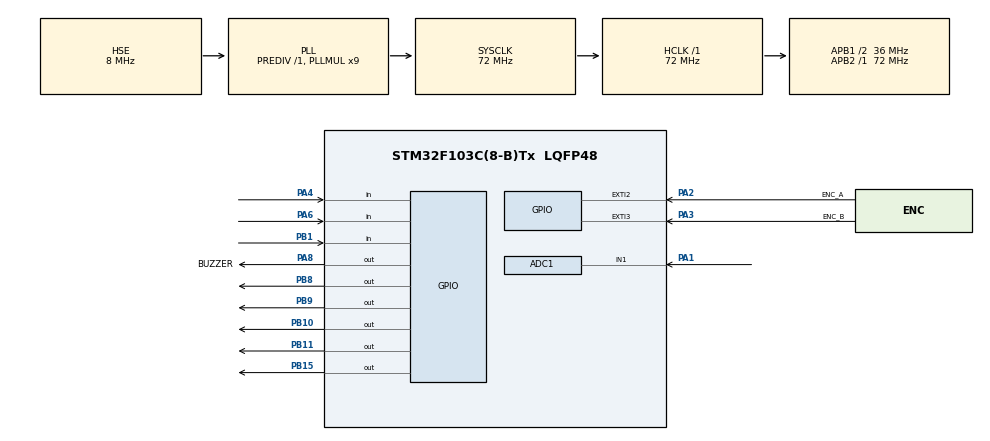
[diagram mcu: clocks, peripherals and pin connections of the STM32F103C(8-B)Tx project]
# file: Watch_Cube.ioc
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ADC1.Channel-0\#ChannelRegularConversion=ADC_CHANNEL_1
ADC1.NbrOfConversionFlag=1
ADC1.Rank-0\#ChannelRegularConversion=1
ADC1.SamplingTime-0\#ChannelRegularConversion=ADC_SAMPLETIME_239CYCLES_5
ADC1.master=1
Mcu.Family=STM32F1
Mcu.Name=STM32F103C(8-B)Tx
Mcu.Package=LQFP48
NVIC.EXTI2_IRQn=true\:2\:0\:true\:false\:true\:true\:true\:true
NVIC.EXTI3_IRQn=true\:2\:0\:true\:false\:true\:true\:true\:true
NVIC.PriorityGroup=NVIC_PRIORITYGROUP_4
PA1.Signal=ADCx_IN1
PA13.Mode=Serial_Wire
PA13.Signal=SYS_JTMS-SWDIO
PA14.Mode=Serial_Wire
PA14.Signal=SYS_JTCK-SWCLK
PA2.GPIO_Label=ENC_A
PA2.GPIO_ModeDefaultEXTI=GPIO_MODE_IT_RISING_FALLING
PA2.GPIO_PuPd=GPIO_PULLUP
PA2.Signal=GPXTI2
PA3.GPIO_Label=ENC_B
PA3.GPIO_ModeDefaultEXTI=GPIO_MODE_IT_RISING_FALLING
PA3.GPIO_PuPd=GPIO_PULLUP
PA3.Signal=GPXTI3
PA4.GPIO_PuPd=GPIO_PULLUP
PA4.Signal=GPIO_Input
PA6.GPIO_PuPd=GPIO_PULLUP
PA6.Signal=GPIO_Input
PA8.GPIO_Label=BUZZER
PA8.GPIO_ModeDefaultOutputPP=GPIO_MODE_OUTPUT_PP
PA8.PinState=GPIO_PIN_SET
PA8.Signal=GPIO_Output
PB1.GPIO_PuPd=GPIO_PULLUP
PB1.Signal=GPIO_Input
PB10.GPIO_ModeDefaultOutputPP=GPIO_MODE_OUTPUT_OD
PB10.GPIO_PuPd=GPIO_NOPULL
PB10.PinState=GPIO_PIN_SET
PB10.Signal=GPIO_Output
PB11.GPIO_ModeDefaultOutputPP=GPIO_MODE_OUTPUT_OD
PB11.GPIO_PuPd=GPIO_NOPULL
PB11.PinState=GPIO_PIN_SET
PB11.Signal=GPIO_Output
PB15.GPIO_ModeDefaultOutputPP=GPIO_MODE_OUTPUT_PP
PB15.PinState=GPIO_PIN_SET
PB15.Signal=GPIO_Output
PB8.GPIO_ModeDefaultOutputPP=GPIO_MODE_OUTPUT_OD
PB8.GPIO_PuPd=GPIO_NOPULL
PB8.PinState=GPIO_PIN_SET
PB8.Signal=GPIO_Output
PB9.GPIO_ModeDefaultOutputPP=GPIO_MODE_OUTPUT_OD
PB9.GPIO_PuPd=GPIO_NOPULL
PB9.PinState=GPIO_PIN_SET
PB9.Signal=GPIO_Output
PC14-OSC32_IN.Mode=LSE-External-Oscillator
PC14-OSC32_IN.Signal=RCC_OSC32_IN
PC15-OSC32_OUT.Mode=LSE-External-Oscillator
PC15-OSC32_OUT.Signal=RCC_OSC32_OUT
PD0-OSC_IN.Mode=HSE-External-Oscillator
PD0-OSC_IN.Signal=RCC_OSC_IN
PD1-OSC_OUT.Mode=HSE-External-Oscillator
PD1-OSC_OUT.Signal=RCC_OSC_OUT
ProjectManager.HeapSize=0x200
ProjectManager.StackSize=0x400
ProjectManager.TargetToolchain=STM32CubeIDE
RCC.ADCPresc=RCC_ADCPCLK2_DIV6
RCC.AHBFreq_Value=72000000
RCC.APB1CLKDivider=RCC_HCLK_DIV2
RCC.APB1Freq_Value=36000000
RCC.APB1TimFreq_Value=72000000
RCC.APB2Freq_Value=72000000
RCC.APB2TimFreq_Value=72000000
RCC.HCLKFreq_Value=72000000
RCC.PLLMUL=RCC_PLL_MUL9
RCC.PLLSourceVirtual=RCC_PLLSOURCE_HSE
RCC.RTCClockSelection=RCC_RTCCLKSOURCE_LSE
RCC.SYSCLKFreq_VALUE=72000000
RCC.SYSCLKSource=RCC_SYSCLKSOURCE_PLLCLK
RCC.USBFreq_Value=72000000
SH.ADCx_IN1.0=ADC1_IN1,IN1
VP_RTC_VS_RTC_Activate.Mode=RTC_Enabled
board=custom

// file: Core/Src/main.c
/* USER CODE BEGIN Header */
/* 新手阅读入口：先找 main()，按“初始化 → while(1)反复运行 → 处理输入 → 刷新页面”阅读。
 * 本文件负责应用流程，具体硬件操作交给各驱动；页面状态机就是用 page 记录当前页面。
 * HAL 是硬件抽象库；GPIO 是通用输入输出引脚；RTC 是实时时钟；ADC 是模数转换器。
 * HAL_GetTick() 返回开机后的毫秒计数，不能当作日期时间使用。
 * uint8_t/uint16_t/uint32_t 分别是8/16/32位无符号整数；int16_t 可表示负数；float 表示小数。
 * 文件级 static 变量只在本文件可见；函数里的 static 变量会保留上一次调用的值。
 * 带 * 的参数是指针，保存变量地址；&变量用于取地址，结构体指针用 -> 访问成员。
 * CubeMX 自动生成区域可能被重新生成覆盖，自定义内容应放在 USER CODE BEGIN/END 标记之间。 */
/**
  ******************************************************************************
  * @file           : main.c
  * @brief          : Main program body
  ******************************************************************************
  * @attention
  *
  * Copyright (c) 2026 STMicroelectronics.
  * All rights reserved.
  *
  * This software is licensed under terms that can be found in the LICENSE file
  * in the root directory of this software component.
  * If no LICENSE file comes with this software, it is provided AS-IS.
  *
  ******************************************************************************
  */
/* USER CODE END Header */
#include "main.h"

/* USER CODE BEGIN Includes */
#include "led.h"
#include "buzzer.h"
#include "light_sensor.h"
#include "oled.h"
#include "key.h"
#include "encoder.h"
#include "myrtc.h"
#include "menu.h"
#include "dino.h"
#include "emoji.h"
#include "mpu6050.h"
#include <math.h>
/* USER CODE END Includes */

/* USER CODE BEGIN PD */
/* 这些编号代表应用页面；和OLED驱动的8像素page横带不是同一概念。 */
#define PAGE_CLOCK      0
#define PAGE_MENU       1
#define PAGE_SET_TIME   2
#define PAGE_STOPWATCH  3
#define PAGE_LIGHT      4
#define PAGE_MOTION 5
#define PAGE_ATTITUDE 6
#define PAGE_LEVEL 7
#define PAGE_DINO 8
#define PAGE_EMOJI 9
#define PAGE_COUNTDOWN 10
#define PAGE_BRIGHTNESS 11
/* USER CODE END PD */

ADC_HandleTypeDef hadc1;

RTC_HandleTypeDef hrtc;

/* USER CODE BEGIN PV */
/* 下面是需要跨多轮主循环保存的应用状态：标志通常用0/1，时间统一用毫秒。
 * 255是“不存在的旧状态”，用于强制首次刷新；亮度下标0到3对应屏幕显示的1到4级。 */
/* 0为数字主页，1为带模拟指针的主页。 */
static uint8_t clockAnalog = 0;
/* 0表示无待传指针图；1到5表示下一次需要传送的OLED横带。 */
static uint8_t clockRenderPage = 0;
/* 秒表是否继续累计：0暂停，1运行。 */
static uint8_t stopwatchRunning = 0;
/* 已经累计的毫秒数，暂停时保留。 */
static uint32_t stopwatchElapsed = 0;
/* 上次秒表更新时的开机毫秒计数，用于求时间差。 */
static uint32_t stopwatchTick = 0;
/* 设置的倒计时时长，60000毫秒就是1分钟；完成后重来时使用。 */
static uint32_t countdownDuration = 60000U;
/* 剩余毫秒数；与设置时长分开，才能暂停后继续。 */
static uint32_t countdownRemaining = 60000U;
/* 上次倒计时更新或重新开始时的毫秒计数。 */
static uint32_t countdownTick = 0;
/* 是否正在扣减剩余时间。 */
static uint8_t countdownRunning = 0;
/* 是否已经倒数到零，用于区分“暂停”和“完成”。 */
static uint8_t countdownFinished = 0;
/* 缓存上一次提示样式；255让第一次进入页面一定重绘。 */
static uint8_t countdownDrawStyle = 255;
/* 按下消音后，等待并消耗对应松手事件，避免又触发一次页面操作。 */
static uint8_t silenceKeyHeld = 0;
/* 默认自动亮度；0切换为手动。 */
static uint8_t brightnessAuto = 1;
/* 自动亮度下标0到3；下标3是第4档，不是第3档。 */
static uint8_t brightnessAutoLevel = 3;
/* 手动档位单独保存，避免被自动计算覆盖。 */
static uint8_t brightnessManualLevel = 3;
/* 缓存采样是否有效，只有状态变化才清除旧的采样提示区域。 */
static uint8_t brightnessDrawValid = 255;
/* USER CODE END PV */

void SystemClock_Config(void);
static void MX_GPIO_Init(void);
static void MX_RTC_Init(void);
static void MX_ADC1_Init(void);

/* USER CODE BEGIN 0 */
/* 显示带正负号的原始运动计数；先扩为32位再取绝对值，避免最小16位负数溢出。 */
static void Motion_ShowValue(uint8_t row, uint8_t x, int16_t value)
{
    int32_t number = value;

    OLED_ShowString(row, x, number < 0 ? "-" : "+");

    uint32_t magnitude =
        number < 0 ? (uint32_t)(-number) : (uint32_t)number;

    OLED_ShowNum(row, x + 6U, magnitude, 5);
}

/* 更新六轴数值，固定标题留给Open函数绘制。 */
static void Motion_Draw(const MPU6050_Data *data)
{
    Motion_ShowValue(2, 18, data->ax);
    Motion_ShowValue(3, 18, data->ay);
    Motion_ShowValue(4, 18, data->az);

    Motion_ShowValue(2, 84, data->gx);
    Motion_ShowValue(3, 84, data->gy);
    Motion_ShowValue(4, 84, data->gz);
}

/* 进入运动页面时绘制轴名称或未连接提示。 */
static void Motion_Open(uint8_t ready)
{
    OLED_Fill(0x00);
    OLED_ShowChinese(0, 0, "加速度");
    OLED_ShowChinese(0, 66, "角速度");
    OLED_ShowChinese(6, 0, "重试");
    OLED_ShowString(6, 36, "1");
    OLED_ShowChinese(6, 72, "返回");
    OLED_ShowString(6, 110, "3");
    if (ready)
    {
        for (uint8_t row = 2; row <= 4; row++)
        {
            const char *axis = row == 2 ? "X:" : (row == 3 ? "Y:" : "Z:");
            OLED_ShowString(row, 0, axis);
            OLED_ShowString(row, 66, axis);
        }
    }
    else
        OLED_ShowChinese(2, 0, "未连接");
}

/* 带上下限的循环加减，例如23小时再加1变为0小时。 */
static uint16_t Clock_Wrap(uint16_t value, int8_t direction,
                           uint16_t minimum, uint16_t maximum)
{
    if (direction > 0)
    {
        return (value >= maximum) ? minimum : value + 1U;
    }

    return (value <= minimum) ? maximum : value - 1U;
}

/* 修改编辑副本的年/月/日/时/分/秒；改年月后还会修正该月不存在的日期。 */
static void Clock_Adjust(MyRTC_DateTime *time,
                         uint8_t field, int8_t direction)
{
    switch (field)
    {
        case 0:
            time->year = Clock_Wrap(time->year, direction, 2000, 2099);
            break;

        case 1:
            time->month = Clock_Wrap(time->month, direction, 1, 12);
            break;

        case 2:
            time->day = Clock_Wrap(
                time->day, direction, 1,
                MyRTC_MonthDays(time->year, time->month));
            break;

        case 3:
            time->hour = Clock_Wrap(time->hour, direction, 0, 23);
            break;

        case 4:
            time->minute = Clock_Wrap(time->minute, direction, 0, 59);
            break;

        case 5:
            time->second = Clock_Wrap(time->second, direction, 0, 59);
            break;
    }

    /* 改变年份、月份后，日期不能超过该月实际天数。 */
    uint8_t maximumDay = MyRTC_MonthDays(time->year, time->month);

    if (time->day > maximumDay)
    {
        time->day = maximumDay;
    }
}

/* 显示传入时间；既可显示实时值，也可显示尚未保存的编辑值。 */
static void Clock_Draw(const MyRTC_DateTime *time)
{
    OLED_ShowNum(0, 0, time->year, 4);
    OLED_ShowNum(0, 30, time->month, 2);
    OLED_ShowNum(0, 48, time->day, 2);

    OLED_ShowNum(2, 0, time->hour, 2);
    OLED_ShowNum(2, 18, time->minute, 2);
    OLED_ShowNum(2, 36, time->second, 2);

    OLED_ShowString(0, 24, "-");
    OLED_ShowString(0, 42, "-");
    OLED_ShowString(2, 12, ":");
    OLED_ShowString(2, 30, ":");
}

/* 将小数四舍五入到整数，正负数分别加减0.5再截断。 */
static int16_t Clock_Round(float value)
{
    return (int16_t)(value >= 0.0f ? value + 0.5f : value - 0.5f);
}

/* turns表示转过几圈，乘2π变弧度；sin/cos求指针端点，屏幕y向下所以余弦前取负号。 */
static void Clock_Hand(float turns, uint8_t length)
{
    float angle = turns * 6.28318531f;
    OLED_DrawLine(100, 29,
                  100 + Clock_Round(sinf(angle) * length),
                  29 - Clock_Round(cosf(angle) * length));
}

/* 按当前模式更新时钟；模拟指针先画入草稿，交给后面主循环逐条横带传送。 */
static void Clock_HomeDraw(const MyRTC_DateTime *time)
{
    if (clockAnalog)
    {
        OLED_FrameClear();
        OLED_DrawCircle(100, 29, 18, 0);
        for (uint8_t i = 0; i < 12; i++)
        {
            float angle = i * 6.28318531f / 12.0f;
            uint8_t inner = (i % 3U == 0U) ? 13U : 15U;
            OLED_DrawLine(100 + Clock_Round(sinf(angle) * inner),
                          29 - Clock_Round(cosf(angle) * inner),
                          100 + Clock_Round(sinf(angle) * 17),
                          29 - Clock_Round(cosf(angle) * 17));
        }
        Clock_Hand((time->hour % 12U + time->minute / 60.0f +
                    time->second / 3600.0f) / 12.0f, 8);
        Clock_Hand((time->minute + time->second / 60.0f) / 60.0f, 12);
        Clock_Hand(time->second / 60.0f, 16);
        OLED_DrawCircle(100, 29, 1, 1);
        clockRenderPage = 1;
    }
    Clock_Draw(time);
}

/* 绘制时钟主页固定文字和电池占位图；BAT --表示未接电量测量电路。 */
static void Clock_Open(void)
{
    OLED_Fill(0x00);
    clockRenderPage = 0;
    OLED_ShowChinese(4, 0, clockAnalog ? "图形时钟" : "数字时钟");
    OLED_ShowChinese(6, 0, "切换");
    OLED_ShowString(6, 34, "1 2");
    OLED_ShowChinese(6, 72, "菜单");
    OLED_ShowString(6, 110, "3");

    /* No battery circuit is connected; leave the charge level unknown. */
    OLED_FrameClear();
    for (int16_t x = 108; x <= 121; x++)
    {
        OLED_DrawPoint(x, 1);
        OLED_DrawPoint(x, 6);
    }
    for (int16_t y = 1; y <= 6; y++)
    {
        OLED_DrawPoint(108, y);
        OLED_DrawPoint(121, y);
    }
    for (int16_t x = 122; x <= 124; x++)
    {
        OLED_DrawPoint(x, 3);
        OLED_DrawPoint(x, 4);
    }
    OLED_UpdateFrame(0, 1);
    OLED_ShowString(0, 70, "BAT --");
}

/* 显示当前编辑字段与保存/取消提示；field为0到5。 */
static void Clock_ShowField(uint8_t field, uint8_t saveFailed)
{
    static const char *names[6] = {"年份", "月份", "日期", "小时", "分钟", "秒"};
    for (uint8_t row = 4; row <= 7; row++)
        OLED_ShowString(row, 0, "                     ");
    OLED_ShowChinese(4, 0, names[field]);
    if (saveFailed)
        OLED_ShowChinese(4, 48, "保存失败");
    else
    {
        OLED_ShowChinese(4, 40, "长按");
        OLED_ShowString(4, 74, "3");
        OLED_ShowChinese(4, 84, "取消");
    }
    OLED_ShowString(6, 0, "1+ 2-");
    OLED_ShowChinese(6, 34, field == 5U ? "保存" : "下一项");
    OLED_ShowString(6, 88, "3");
}

/* 按毫秒差累加秒表，不依赖当前页面；100小时取余回零，无符号减法可处理计数回绕。 */
static void Stopwatch_Update(void)
{
    uint32_t now = HAL_GetTick();

    if (stopwatchRunning)
    {
        stopwatchElapsed =
            (stopwatchElapsed + (uint32_t)(now - stopwatchTick))
            % 360000000U;
    }

    stopwatchTick = now;
}

/* 把累计毫秒拆成小时、分钟、秒和百分之一秒，只负责显示。 */
static void Stopwatch_Draw(void)
{
    /* 整数除法舍掉小数；/1000把毫秒变为完整秒，%60再取当前分钟内的秒。 */
    uint32_t totalSeconds = stopwatchElapsed / 1000U;

    uint8_t hours = totalSeconds / 3600U;
    uint8_t minutes = (totalSeconds / 60U) % 60U;
    uint8_t seconds = totalSeconds % 60U;
    uint8_t hundredths = (stopwatchElapsed / 10U) % 100U;

    OLED_ShowNum(2, 0, hours, 2);
    OLED_ShowString(2, 12, ":");

    OLED_ShowNum(2, 18, minutes, 2);
    OLED_ShowString(2, 30, ":");

    OLED_ShowNum(2, 36, seconds, 2);
    OLED_ShowString(2, 48, ":");

    OLED_ShowNum(2, 54, hundredths, 2);

    OLED_ShowChinese(0, 80, stopwatchRunning ? "运行" : "停止");
}

/* 绘制秒表标题与操作提示，不重置已经累计的时间。 */
static void Stopwatch_Open(void)
{
    OLED_Fill(0x00);

    OLED_ShowChinese(0, 0, "秒表");
    OLED_ShowChinese(4, 0, "开始");
    OLED_ShowString(4, 34, "1");
    OLED_ShowChinese(4, 72, "停止");
    OLED_ShowString(4, 110, "2");
    OLED_ShowString(6, 0, "3");
    OLED_ShowChinese(6, 8, "清零");
    OLED_ShowChinese(6, 48, "长按");
    OLED_ShowString(6, 82, "3");
    OLED_ShowChinese(6, 90, "返回");
}

/* 扣除实际经过的毫秒，归零时启动蜂鸣；离开倒计时页面后仍需调用。 */
static void Countdown_Update(void)
{
    if (!countdownRunning)
        return;
    uint32_t now = HAL_GetTick();
    /* 例如上次1000、本次1025，则经过25毫秒；不能假设每轮循环恰好1毫秒。 */
    uint32_t elapsed = now - countdownTick;
    countdownTick = now;
    if (elapsed >= countdownRemaining)
    {
        countdownRemaining = 0;
        countdownRunning = 0;
        countdownFinished = 1;
        Buzzer_Alert();
    }
    else
        countdownRemaining -= elapsed;
}

/* 每次加减10秒，范围10秒到60分钟；同时记录作为下一次重来的设置时长。 */
static void Countdown_Adjust(int8_t direction)
{
    /* 加999再整除1000实现向上取整：剩余1到1000毫秒都按1秒处理。 */
    uint32_t seconds = (countdownRemaining + 999U) / 1000U;
    if (direction > 0)
        seconds = seconds >= 3590U ? 3600U : seconds + 10U;
    else
        seconds = seconds <= 20U ? 10U : seconds - 10U;
    countdownDuration = countdownRemaining = seconds * 1000U;
    countdownFinished = 0;
}

/* 剩余毫秒向上取整显示秒，避免还有不足1秒时提前显示00；按运行状态改变提示。 */
static void Countdown_Draw(void)
{
    /* 加999再整除1000实现向上取整：剩余1到1000毫秒都按1秒处理。 */
    uint32_t seconds = (countdownRemaining + 999U) / 1000U;
    uint8_t sounding = Buzzer_IsAlerting();
    OLED_ShowChinese(0, 80, sounding ? "响铃" :
                     (countdownRunning ? "运行" :
                      (countdownFinished ? "完成" :
                       (countdownRemaining == countdownDuration ? "设置" : "暂停"))));
    OLED_ShowNum(2, 40, seconds / 3600U, 2);
    OLED_ShowString(2, 52, ":");
    OLED_ShowNum(2, 58, (seconds / 60U) % 60U, 2);
    OLED_ShowString(2, 70, ":");
    OLED_ShowNum(2, 76, seconds % 60U, 2);
    OLED_ShowChinese(6, 0, sounding ? "消音" :
                     (countdownRunning ? "暂停" :
                      (countdownFinished ? "重来" : "开始")));
    uint8_t style = sounding ? 2U : (countdownRunning ? 1U : 0U);
    if (style != countdownDrawStyle)
    {
        OLED_ShowString(4, 0, "                     ");
        OLED_ShowString(5, 0, "                     ");
        if (sounding)
            OLED_ShowChinese(4, 24, "任意键消音");
        else if (countdownRunning)
            OLED_ShowChinese(4, 40, "计时中");
        else
        {
            OLED_ShowChinese(4, 0, "加");
            OLED_ShowString(4, 20, "1");
            OLED_ShowChinese(4, 48, "减");
            OLED_ShowString(4, 68, "2");
            OLED_ShowNum(4, 88, 10, 2);
            OLED_ShowChinese(4, 104, "秒");
        }
        countdownDrawStyle = style;
    }
}

/* 进入倒计时页只重绘界面，不清空后台计时状态。 */
static void Countdown_Open(void)
{
    OLED_Fill(0x00);
    OLED_ShowChinese(0, 0, "倒计时");
    OLED_ShowString(6, 36, "3");
    OLED_ShowChinese(6, 48, "长按");
    OLED_ShowString(6, 82, "3");
    OLED_ShowChinese(6, 90, "返回");
    countdownDrawStyle = 255;
    Countdown_Draw();
}

/* 按应用保存的灯状态更新文字。 */
static void Light_Draw(uint8_t on)
{
    OLED_ShowChinese(2, 0, on ? "已开启" : "已关闭");
}

/* 显示灯光控制界面，进入页面不会改变灯原来的状态。 */
static void Light_Open(uint8_t on)
{
    OLED_Fill(0x00);

    OLED_ShowChinese(0, 0, "灯光");
    OLED_ShowChinese(4, 0, "开启");
    OLED_ShowString(4, 34, "1");
    OLED_ShowChinese(4, 72, "关闭");
    OLED_ShowString(4, 110, "2");
    OLED_ShowChinese(6, 0, "返回");
    OLED_ShowString(6, 36, "3");

    Light_Draw(on);
}

/* 把光照百分比映射到四档亮度；升档和降档阈值相差8个百分点以减少跳档。 */
static void Brightness_Update(void)
{
    /* 四档屏幕对比度参数，不是百分比；通过屏幕控制命令改变发光亮度。 */
    static const uint8_t contrast[4] = {0x20, 0x60, 0xA0, 0xCF};
    /* 相对光照的三个分档边界；上下再加减4个百分点，形成回差。 */
    static const uint8_t edges[3] = {25, 50, 75};
    if (brightnessAuto)
    {
        if (!LightSensor_IsValid())
            return;
        uint8_t percent = LightSensor_GetPercent();
        /* Different up/down thresholds prevent flickering near a boundary. */
        while (brightnessAutoLevel < 3U && percent >= edges[brightnessAutoLevel] + 4U)
            brightnessAutoLevel++;
        while (brightnessAutoLevel > 0U && percent <= edges[brightnessAutoLevel - 1U] - 4U)
            brightnessAutoLevel--;
    }
    OLED_SetContrast(contrast[brightnessAuto ? brightnessAutoLevel : brightnessManualLevel]);
}

/* 显示相对光照、采样值、亮度级和模式；无有效采样时用占位符提示。 */
static void Brightness_Draw(void)
{
    uint8_t valid = LightSensor_IsValid();
    OLED_ShowChinese(2, 0, "光照");
    if (valid)
        OLED_ShowNum(2, 40, LightSensor_GetPercent(), 3);
    else
        OLED_ShowString(2, 40, "---");
    OLED_ShowString(2, 60, "%");
    OLED_ShowChinese(2, 88, "级");
    OLED_ShowNum(2, 110, (brightnessAuto ? brightnessAutoLevel : brightnessManualLevel) + 1U, 1);
    if (valid != brightnessDrawValid)
    {
        OLED_ShowString(4, 0, "                     ");
        OLED_ShowString(5, 0, "                     ");
        brightnessDrawValid = valid;
    }
    if (valid)
    {
        OLED_ShowChinese(4, 0, "采样");
        OLED_ShowNum(4, 40, LightSensor_GetValue(), 4);
    }
    else
        OLED_ShowChinese(4, 0, "采样失败");
    OLED_ShowChinese(6, 0, brightnessAuto ? "自动" : "手动");
    OLED_ShowChinese(6, 72, !brightnessAuto ? "调亮" : (valid ? "反向" : "重试"));
}

/* 绘制亮度页面固定内容，再显示当前读数。 */
static void Brightness_Open(void)
{
    OLED_Fill(0x00);
    OLED_ShowChinese(0, 0, "亮度");
    OLED_ShowChinese(0, 72, "返回");
    OLED_ShowString(0, 110, "3");
    OLED_ShowString(6, 36, "1");
    OLED_ShowString(6, 110, "2");
    brightnessDrawValid = 255;
    Brightness_Draw();
}

/* 姿态角取整并显示正负号，单位为度。 */
static void Attitude_ShowValue(uint8_t row, float value)
{
    int32_t rounded =
        (int32_t)(value >= 0.0f ? value + 0.5f : value - 0.5f);
    OLED_ShowString(row, 42, rounded < 0 ? "-" : "+");
    uint32_t magnitude =
        rounded < 0 ? (uint32_t)(-rounded) : (uint32_t)rounded;
    OLED_ShowNum(row, 48, magnitude, 3);
}

/* 更新横滚、俯仰、偏航三个角度，偏航只是相对方向。 */
static void Attitude_Draw(const MPU6050_Angles *angles)
{
    Attitude_ShowValue(0, angles->roll);
    Attitude_ShowValue(2, angles->pitch);
    Attitude_ShowValue(4, angles->yaw);
}

/* 绘制姿态页，ready决定显示角度标签还是未就绪提示。 */
static void Attitude_Open(uint8_t ready)
{
    OLED_Fill(0x00);
    OLED_ShowChinese(6, 0, ready ? "校准" : "重试");
    OLED_ShowString(6, 36, "1");
    OLED_ShowChinese(6, 72, "返回");
    OLED_ShowString(6, 110, "3");
    if (ready)
    {
        OLED_ShowChinese(0, 0, "横滚");
        OLED_ShowChinese(2, 0, "俯仰");
        OLED_ShowChinese(4, 0, "偏航");
        OLED_ShowChinese(0, 80, "姿态");
        OLED_ShowChinese(2, 80, "度");
    }
    else
    {
        OLED_ShowChinese(0, 0, "姿态");
        OLED_ShowChinese(2, 0, "未就绪");
    }
}

/* 先提示保持静止，再初始化并校准；此过程有等待，完成后才回到主循环。 */
static uint8_t Attitude_Calibrate(void)
{
    OLED_Fill(0x00);
    OLED_ShowChinese(0, 0, "保持静止");
    OLED_ShowChinese(2, 0, "正在校准");
    uint8_t connected = MPU6050_Init();
    uint8_t ready = connected;

    if (ready)
    {
        ready = MPU6050_Calibrate();
    }

    Attitude_Open(ready);
    if (!ready)
        OLED_ShowChinese(2, 0, connected ? "校准失败" : "未连接");
    return ready;
}

/* 把角度差折回-180到180度，避免跨越正负180度时气泡突然跳到另一边。 */
static float Level_Difference(float angle, float reference)
{
    float difference = angle - reference;
    if (difference > 180.0f) difference -= 360.0f;
    if (difference < -180.0f) difference += 360.0f;
    return difference;
}

/* 把相对零点的倾角映射为气泡偏移，并把偏移半径限制到11像素。 */
static void Level_Draw(const MPU6050_Angles *angles,
                        float zeroRoll, float zeroPitch)
{
    float dx = -0.6f * Level_Difference(angles->roll, zeroRoll);
    float dy = 0.6f * Level_Difference(angles->pitch, zeroPitch);
    float distance = sqrtf(dx * dx + dy * dy);

    if (distance > 11.0f)
    {
        dx *= 11.0f / distance;
        dy *= 11.0f / distance;
    }

    int16_t bubbleX = 64 + (int16_t)(dx >= 0.0f ? dx + 0.5f : dx - 0.5f);
    int16_t bubbleY = 32 + (int16_t)(dy >= 0.0f ? dy + 0.5f : dy - 0.5f);

    OLED_FrameClear();
    OLED_DrawCircle(64, 32, 14, 0);

    for (int16_t i = -2; i <= 2; i++)
    {
        OLED_DrawPoint(64 + i, 32);
        OLED_DrawPoint(64, 32 + i);
    }

    OLED_DrawCircle(bubbleX, bubbleY, 3, 1);
}

/* 清除旧气泡区域并提示读取失败，避免残留画面被误当成有效值。 */
static void Level_ReadError(void)
{
    OLED_FrameClear();
    OLED_UpdateFrameArea(2, 4, 49, 31);
    OLED_ShowChinese(2, 0, "读取失败");
    OLED_ShowChinese(6, 0, "重试");
    OLED_ShowString(6, 36, "1");
}

/* 进入水平仪页先初始化和校准，成功返回1；失败返回0并提示原因。 */
static uint8_t Level_Open(void)
{
    OLED_Fill(0x00);
    OLED_ShowChinese(0, 0, "保持静止");
    OLED_ShowChinese(2, 0, "正在校准");
    uint8_t connected = MPU6050_Init();
    uint8_t ready = connected;
    if (ready)
        ready = MPU6050_Calibrate();
    OLED_Fill(0x00);
    OLED_ShowChinese(0, 0, "水平仪");
    OLED_ShowChinese(6, 72, "返回");
    OLED_ShowString(6, 110, "3");
    OLED_ShowChinese(6, 0, ready ? "归零" : "重试");
    OLED_ShowString(6, 36, "1");
    if (!ready)
        OLED_ShowChinese(2, 0, connected ? "校准失败" : "未连接");
    return ready;
}

/* USER CODE END 0 */

int main(void)
{

  /* MCU Configuration--------------------------------------------------------*/

  /* Reset of all peripherals, Initializes the Flash interface and the Systick. */
  HAL_Init();

  /* Configure the system clock */
  SystemClock_Config();

  /* USER CODE BEGIN SysInit */
  /* 系统时钟已配置：HSE（高速外部晶振）8MHz，经PLL（锁相环倍频器）乘9得到72MHz。
   * AHB系统总线72MHz，APB1外设总线36MHz，APB2外设总线72MHz；ADC时钟再除6为12MHz。
   * RCC是复位与时钟控制模块；上述频率由SystemClock_Config()设置。 */

  /* USER CODE END SysInit */

  /* Initialize all configured peripherals */
  MX_GPIO_Init();
  MX_RTC_Init();
  MX_ADC1_Init();
  /* USER CODE BEGIN 2 */
  /* 硬件基础配置完成后，再初始化自定义驱动；先设蜂鸣器关闭，再准备时钟、显示和光照。 */
  Encoder_Init();
  Buzzer_Init();
  MyRTC_Init();
  OLED_Init();
  LightSensor_Init(&hadc1);
  LightSensor_Update();
  Brightness_Update();
  LED_Off();

  /* dateTime保存实时读数，editTime保存设置页面的编辑副本；确认保存前不会修改RTC。 */
  MyRTC_DateTime dateTime;
  MyRTC_DateTime editTime;

  /* page决定当前页面；screenOff只表示显示关闭，主循环和后台计时仍然运行。 */
  uint8_t page = PAGE_CLOCK;
  /* 编辑字段0到5依次是年、月、日、时、分、秒。 */
  uint8_t field = 0;
  /* 秒正常范围0到59，故255一定不同，促使第一次就显示时间。 */
  uint8_t lastSecond = 255;
  uint8_t lightOn = 0;
  uint8_t screenOff = 0;

  /* 以下Refresh变量控制“多久重画一次”；计时本身每轮更新，与画屏周期不同。 */
  uint32_t stopwatchRefresh = 0;
  uint32_t countdownRefresh = 0;
  uint32_t brightnessRefresh = 0;

  Clock_Open();

  MPU6050_Data motionData;
  uint8_t motionReady = 0;
  uint32_t motionRefresh = 0;

  MPU6050_Angles attitudeData;
  uint8_t attitudeReady = 0;
  uint32_t attitudeSample = 0;
  uint32_t attitudeRefresh = 0;

  MPU6050_Angles levelData;
  uint8_t levelReady = 0;
  uint8_t levelStatus = 0;
  uint8_t levelRenderPage = 0;
  uint32_t levelSample = 0;
  uint32_t levelRefresh = 0;
  float levelZeroRoll = 0.0f;
  float levelZeroPitch = 0.0f;

  /* USER CODE END 2 */

  /* Infinite loop */
  while (1)
    {

    /* USER CODE BEGIN 3 */
	  /* 第一部分：每轮都更新后台任务，因此离开对应页面或息屏也不会停掉倒计时。 */
	  Stopwatch_Update();
      Countdown_Update();
      Buzzer_Update();
      LightSensor_Update();
      Brightness_Update();
      OLED_Service();
      /* 第二部分：读取输入。event为松手事件，pressEvent为按下事件，encoderSteps为累计旋转步数。 */
      uint8_t event = Key_GetEvent();
      uint8_t pressEvent = Key_GetPressEvent();
      int8_t encoderSteps = Encoder_GetDelta();

      /* 消音优先：这次按键只负责停止提示，避免同时触发当前页面的其他动作。 */
      if (Buzzer_IsAlerting() &&
          (event != KEY_EVENT_NONE || pressEvent != KEY_EVENT_NONE))
      {
          Buzzer_Stop();
          if (event == KEY_EVENT_NONE)
              silenceKeyHeld = 1;
          pressEvent = KEY_EVENT_NONE;
          if (!screenOff)
              event = KEY_EVENT_NONE;
      }
      if (silenceKeyHeld)
      {
          pressEvent = KEY_EVENT_NONE;
          if (event != KEY_EVENT_NONE)
          {
              silenceKeyHeld = 0;
              if (!screenOff)
                  event = KEY_EVENT_NONE;
          }
      }

      /* 息屏时仍已完成上面的后台更新；有松手事件就恢复主页，然后continue开始下一轮。 */
      if (screenOff)
      {
          if (event != KEY_EVENT_NONE)
          {
              MyRTC_Get(&dateTime);
              Clock_Open();
              Clock_HomeDraw(&dateTime);
              if (clockAnalog)
              {
                  OLED_UpdateFrameArea(1, 5, 80, 40);
                  clockRenderPage = 0;
              }
              lastSecond = dateTime.second;
              OLED_DisplayOn();
              screenOff = 0;
          }
          /* Consume the wake event instead of opening the menu as well. */
          continue;
      }

      /* 第三部分：页面状态机。相同按键在不同页面含义不同，只执行当前case的操作。 */
      switch (page)
      {
          case PAGE_CLOCK:
          {
              /* 主页操作：键1或键2切换显示，短按3进菜单，长按3松手息屏。 */
              if (event == KEY_EVENT_1 || event == KEY_EVENT_2)
              {
                  clockAnalog = !clockAnalog;
                  lastSecond = 255;
                  Clock_Open();
              }
              else if (event == KEY_EVENT_3)
              {
                  page = PAGE_MENU;
                  Menu_Open();
              }
              else if (event == KEY_EVENT_3_LONG)
              {
                  OLED_DisplayOff();
                  screenOff = 1;
                  continue;
              }
              break;
          }

          case PAGE_MENU:
          {
              /* 旋钮只在菜单页使用；其他页面不会把旋转累计成日后的菜单操作。 */
              Menu_Move(encoderSteps);
              uint8_t action = Menu_HandleEvent(event);

              if (action == MENU_ACTION_HOME)
              {
                  page = PAGE_CLOCK;
                  lastSecond = 255;
                  Clock_Open();
              }
              else if (action == MENU_ACTION_SET_TIME)
              {
                  /* 把当前日期读入编辑副本；只有最后一项确认保存才调用MyRTC_Set写回硬件。 */
                  MyRTC_Get(&editTime);

                  page = PAGE_SET_TIME;
                  field = 0;

                  OLED_Fill(0x00);
                  Clock_Draw(&editTime);
                  Clock_ShowField(field, 0);
              }
              else if (action == MENU_ACTION_STOPWATCH)
              {
                  page = PAGE_STOPWATCH;
                  Stopwatch_Open();
              }
              else if (action == MENU_ACTION_LIGHT)
              {
                  page = PAGE_LIGHT;
                  Light_Open(lightOn);
              }
              else if (action == MENU_ACTION_MOTION)
              {
                  motionReady = MPU6050_Init();

                  page = PAGE_MOTION;
                  Motion_Open(motionReady);
              }
              else if (action == MENU_ACTION_ATTITUDE)
              {
                  page = PAGE_ATTITUDE;
                  attitudeReady = Attitude_Calibrate();
                  attitudeSample = 0;
                  attitudeRefresh = 0;
              }
              else if (action == MENU_ACTION_BRIGHTNESS)
              {
                  page = PAGE_BRIGHTNESS;
                  Brightness_Open();
              }
              else if (action == MENU_ACTION_COUNTDOWN)
              {
                  page = PAGE_COUNTDOWN;
                  Countdown_Open();
              }
              else if (action == MENU_ACTION_EMOJI)
              {
                  page = PAGE_EMOJI;
                  Emoji_Open();
              }
              else if (action == MENU_ACTION_DINO)
              {
                  page = PAGE_DINO;
                  Dino_Open();
              }
              else if (action == MENU_ACTION_LEVEL)
              {
                  page = PAGE_LEVEL;
                  levelZeroRoll = 0.0f;
                  levelZeroPitch = 0.0f;
                  levelStatus = 0;
                  levelRenderPage = 0;
                  levelSample = 0;
                  levelRefresh = 0;
                  levelReady = Level_Open();
              }
              break;
          }

          case PAGE_BRIGHTNESS:
          {
              if (event == KEY_EVENT_1)
              {
                  /* 由自动切到手动时先继承当前亮度，避免模式切换造成突然明暗变化。 */
                  if (brightnessAuto)
                      brightnessManualLevel = brightnessAutoLevel;
                  brightnessAuto = !brightnessAuto;
                  Brightness_Update();
              }
              else if (event == KEY_EVENT_2)
              {
                  if (!brightnessAuto)
                      brightnessManualLevel = (brightnessManualLevel + 1U) % 4U;
                  else if (!LightSensor_IsValid())
                  {
                      LightSensor_Init(&hadc1);
                      LightSensor_Update();
                  }
                  else
                      LightSensor_ToggleDirection();
                  Brightness_Update();
              }
              else if (event == KEY_EVENT_3 || event == KEY_EVENT_3_LONG)
              {
                  page = PAGE_MENU;
                  Menu_Open();
              }
              break;
          }

          case PAGE_COUNTDOWN:
          {
              if (event == KEY_EVENT_1 && !countdownRunning)
                  Countdown_Adjust(1);
              else if (event == KEY_EVENT_2 && !countdownRunning)
                  Countdown_Adjust(-1);
              else if (event == KEY_EVENT_3)
              {
                  if (countdownRunning)
                      countdownRunning = 0;
                  else
                  {
                      if (countdownRemaining == 0U)
                          countdownRemaining = countdownDuration;
                      countdownFinished = 0;
                      /* 恢复计时先更新起点，否则暂停期间的时间也会被错误扣掉。 */
                      countdownTick = HAL_GetTick();
                      countdownRunning = 1;
                  }
              }
              else if (event == KEY_EVENT_3_LONG)
              {
                  page = PAGE_MENU;
                  Menu_Open();
              }
              break;
          }

          case PAGE_STOPWATCH:
          {
              if (event == KEY_EVENT_1)
              {
                  stopwatchRunning = 1;
              }
              else if (event == KEY_EVENT_2)
              {
                  stopwatchRunning = 0;
              }
              else if (event == KEY_EVENT_3)
              {
                  stopwatchRunning = 0;
                  stopwatchElapsed = 0;
              }
              else if (event == KEY_EVENT_3_LONG)
              {
                  page = PAGE_MENU;
                  Menu_Open();
              }
              break;
          }

          case PAGE_LIGHT:
          {
              if (event == KEY_EVENT_1)
              {
                  lightOn = 1;
                  LED_On();
                  Light_Draw(lightOn);
              }
              else if (event == KEY_EVENT_2)
              {
                  lightOn = 0;
                  LED_Off();
                  Light_Draw(lightOn);
              }
              else if (event == KEY_EVENT_3 ||
                       event == KEY_EVENT_3_LONG)
              {
                  page = PAGE_MENU;
                  Menu_Open();
              }
              break;
          }

          case PAGE_MOTION:
          {
              if (event == KEY_EVENT_1)
              {
                  motionReady = MPU6050_Init();
                  motionRefresh = 0;
                  Motion_Open(motionReady);
              }
              else if (event == KEY_EVENT_3 ||
                  event == KEY_EVENT_3_LONG)
              {
                  page = PAGE_MENU;
                  Menu_Open();
              }
              break;
          }

          case PAGE_ATTITUDE:
          {
              if (event == KEY_EVENT_1)
              {
                  attitudeReady = Attitude_Calibrate();
              }
              else if (event == KEY_EVENT_3 ||
                       event == KEY_EVENT_3_LONG)
              {
                  page = PAGE_MENU;
                  Menu_Open();
              }
              break;
          }

          case PAGE_LEVEL:
          {
              if (event == KEY_EVENT_1)
              {
                  if (!levelReady)
                  {
                      levelRenderPage = 0;
                      levelStatus = 0;
                      levelZeroRoll = 0.0f;
                      levelZeroPitch = 0.0f;
                      levelSample = 0;
                      levelRefresh = 0;
                      levelReady = Level_Open();
                  }
                  else if (MPU6050_UpdateAngles(&levelData))
                  {
                      /* 只更改界面参考零点，不是在重新校准传感器的角速度零偏。 */
                      levelZeroRoll = levelData.roll;
                      levelZeroPitch = levelData.pitch;
                      levelRenderPage = 0;
                      levelRefresh = 0;
                  }
                  else
                  {
                      levelReady = 0;
                      levelStatus = 2;
                      levelRenderPage = 0;
                      Level_ReadError();
                  }
              }
              else if (event == KEY_EVENT_3 ||
                       event == KEY_EVENT_3_LONG)
              {
                  page = PAGE_MENU;
                  Menu_Open();
              }
              break;
          }

          case PAGE_EMOJI:
          {
              if (event == KEY_EVENT_3 || event == KEY_EVENT_3_LONG)
              {
                  page = PAGE_MENU;
                  Menu_Open();
              }
              else
                  Emoji_HandleEvent(event);
              break;
          }

          case PAGE_DINO:
          {
              if (event == KEY_EVENT_3_LONG)
              {
                  page = PAGE_MENU;
                  Menu_Open();
              }
              /* 游戏需要按下立即响应；普通菜单用松手事件，能识别长短按。 */
              else if (pressEvent == KEY_EVENT_1)
                  Dino_HandleEvent(pressEvent);
              break;
          }

          case PAGE_SET_TIME:
          {
              if (event != KEY_EVENT_NONE)
              {
                  uint8_t saveFailed = 0;

                  if (event == KEY_EVENT_1)
                  {
                      Clock_Adjust(&editTime, field, 1);
                  }
                  else if (event == KEY_EVENT_2)
                  {
                      Clock_Adjust(&editTime, field, -1);
                  }
                  else if (event == KEY_EVENT_3)
                  {
                      if (field < 5U)
                      {
                          field++;
                      }
                      else if (MyRTC_Set(&editTime))
                      {
                          page = PAGE_MENU;
                          Menu_Open();
                      }
                      else
                      {
                          saveFailed = 1;
                      }
                  }
                  else if (event == KEY_EVENT_3_LONG)
                  {
                      page = PAGE_MENU;
                      Menu_Open();
                  }

                  if (page == PAGE_SET_TIME)
                  {
                      Clock_Draw(&editTime);
                      Clock_ShowField(field, saveFailed);
                  }
              }
              break;
          }
      }

      /* 第四部分：按需刷新。时钟每秒更新一次；模拟指针分条传送，让按键能及时被轮询。 */
      if (page == PAGE_CLOCK)
      {
          MyRTC_Get(&dateTime);

          if (dateTime.second != lastSecond)
          {
              lastSecond = dateTime.second;
              Clock_HomeDraw(&dateTime);
          }
          /* Transfer one strip per loop so drawing does not block key polling. */
          if (clockRenderPage != 0)
          {
              OLED_UpdateFrameArea(clockRenderPage, 1, 80, 40);
              if (++clockRenderPage > 5U)
              {
                  clockRenderPage = 0;
              }
          }
      }

      /* 下面集中按时间条件刷新当前页面。其他页面的绘图不执行，但前面的后台计时一直执行。 */
      uint32_t now = HAL_GetTick();

      /* 采样与画屏分开：约10毫秒更新姿态，约100毫秒准备气泡画面，再分条传送。 */
      if (page == PAGE_LEVEL && levelReady)
      {
          if ((uint32_t)(now - levelSample) >= 10U)
          {
              levelSample = now;

              if (MPU6050_UpdateAngles(&levelData))
              {
                  if (levelStatus == 2U)
                  {
                      OLED_ShowString(0, 66, "      ");
                      OLED_ShowString(1, 66, "      ");
                  }
                  levelStatus = 1;
              }
              else
              {
                  levelReady = 0;
                  levelStatus = 2;
                  levelRenderPage = 0;
                  Level_ReadError();
              }
          }

          if (levelStatus == 1U && levelRenderPage == 0U &&
              (uint32_t)(now - levelRefresh) >= 100U)
          {
              Level_Draw(&levelData, levelZeroRoll, levelZeroPitch);
              levelRefresh = now;
              levelRenderPage = 2;
          }

          /* Transfer one 8-pixel strip per loop to keep key polling responsive. */
          if (levelRenderPage != 0U)
          {
              OLED_UpdateFrameArea(levelRenderPage, 1, 49, 31);
              levelRenderPage++;
              if (levelRenderPage > 5U)
              {
                  levelRenderPage = 0;
              }
          }
      }

      if (page == PAGE_ATTITUDE && attitudeReady &&
          (uint32_t)(now - attitudeSample) >= 10U)
      {
          attitudeSample = now;

          if (MPU6050_UpdateAngles(&attitudeData))
          {
              if ((uint32_t)(now - attitudeRefresh) >= 100U)
              {
                  attitudeRefresh = now;
                  Attitude_Draw(&attitudeData);
              }
          }
          else
          {
              attitudeReady = 0;
              Attitude_Open(0);
              OLED_ShowChinese(2, 0, "读取失败");
          }
      }

      if (page == PAGE_MOTION && motionReady &&
          ((uint32_t)(now - motionRefresh) >= 100U ||
           event != KEY_EVENT_NONE))
      {
          motionRefresh = now;

          if (MPU6050_Read(&motionData))
          {
              Motion_Draw(&motionData);
          }
          else
          {
              for (uint8_t row = 2; row <= 5; row++)
                  OLED_ShowString(row, 0, "                     ");
              OLED_ShowChinese(2, 0, "读取失败");
              motionReady = 0;
          }
      }

      if (page == PAGE_EMOJI)
          Emoji_Update();

      if (page == PAGE_DINO)
          Dino_Update();

      if (page == PAGE_BRIGHTNESS &&
          ((uint32_t)(now - brightnessRefresh) >= 100U || event != KEY_EVENT_NONE))
      {
          brightnessRefresh = now;
          Brightness_Draw();
      }

      if (page == PAGE_COUNTDOWN &&
          ((uint32_t)(now - countdownRefresh) >= 100U || event != KEY_EVENT_NONE))
      {
          countdownRefresh = now;
          Countdown_Draw();
      }

      if (page == PAGE_STOPWATCH &&
          ((uint32_t)(now - stopwatchRefresh) >= 100U ||
           event != KEY_EVENT_NONE))
      {
          stopwatchRefresh = now;
          Stopwatch_Draw();
      }

    }

  /* USER CODE END 3 */
}

void SystemClock_Config(void)
{
  RCC_OscInitTypeDef RCC_OscInitStruct = {0};
  RCC_ClkInitTypeDef RCC_ClkInitStruct = {0};
  RCC_PeriphCLKInitTypeDef PeriphClkInit = {0};

  /** Initializes the RCC Oscillators according to the specified parameters
  * in the RCC_OscInitTypeDef structure.
  */
  RCC_OscInitStruct.OscillatorType = RCC_OSCILLATORTYPE_HSE|RCC_OSCILLATORTYPE_LSE;
  RCC_OscInitStruct.HSEState = RCC_HSE_ON;
  RCC_OscInitStruct.HSEPredivValue = RCC_HSE_PREDIV_DIV1;
  RCC_OscInitStruct.LSEState = RCC_LSE_ON;
  RCC_OscInitStruct.HSIState = RCC_HSI_ON;
  RCC_OscInitStruct.PLL.PLLState = RCC_PLL_ON;
  RCC_OscInitStruct.PLL.PLLSource = RCC_PLLSOURCE_HSE;
  RCC_OscInitStruct.PLL.PLLMUL = RCC_PLL_MUL9;
  if (HAL_RCC_OscConfig(&RCC_OscInitStruct) != HAL_OK)
  {
    Error_Handler();
  }

  /** Initializes the CPU, AHB and APB buses clocks
  */
  RCC_ClkInitStruct.ClockType = RCC_CLOCKTYPE_HCLK|RCC_CLOCKTYPE_SYSCLK
                              |RCC_CLOCKTYPE_PCLK1|RCC_CLOCKTYPE_PCLK2;
  RCC_ClkInitStruct.SYSCLKSource = RCC_SYSCLKSOURCE_PLLCLK;
  RCC_ClkInitStruct.AHBCLKDivider = RCC_SYSCLK_DIV1;
  RCC_ClkInitStruct.APB1CLKDivider = RCC_HCLK_DIV2;
  RCC_ClkInitStruct.APB2CLKDivider = RCC_HCLK_DIV1;

  if (HAL_RCC_ClockConfig(&RCC_ClkInitStruct, FLASH_LATENCY_2) != HAL_OK)
  {
    Error_Handler();
  }
  PeriphClkInit.PeriphClockSelection = RCC_PERIPHCLK_RTC|RCC_PERIPHCLK_ADC;
  PeriphClkInit.RTCClockSelection = RCC_RTCCLKSOURCE_LSE;
  PeriphClkInit.AdcClockSelection = RCC_ADCPCLK2_DIV6;
  if (HAL_RCCEx_PeriphCLKConfig(&PeriphClkInit) != HAL_OK)
  {
    Error_Handler();
  }
}

static void MX_ADC1_Init(void)
{

  /* USER CODE BEGIN ADC1_Init 0 */
  /* ADC1配置由CubeMX生成：PA1通道1，软件触发、单次转换、右对齐，采样时间239.5周期。 */

  /* USER CODE END ADC1_Init 0 */

  ADC_ChannelConfTypeDef sConfig = {0};

  /** Common config
  */
  hadc1.Instance = ADC1;
  hadc1.Init.ScanConvMode = ADC_SCAN_DISABLE;
  hadc1.Init.ContinuousConvMode = DISABLE;
  hadc1.Init.DiscontinuousConvMode = DISABLE;
  hadc1.Init.ExternalTrigConv = ADC_SOFTWARE_START;
  hadc1.Init.DataAlign = ADC_DATAALIGN_RIGHT;
  hadc1.Init.NbrOfConversion = 1;
  if (HAL_ADC_Init(&hadc1) != HAL_OK)
  {
    Error_Handler();
  }

  /** Configure Regular Channel
  */
  sConfig.Channel = ADC_CHANNEL_1;
  sConfig.Rank = ADC_REGULAR_RANK_1;
  sConfig.SamplingTime = ADC_SAMPLETIME_239CYCLES_5;
  if (HAL_ADC_ConfigChannel(&hadc1, &sConfig) != HAL_OK)
  {
    Error_Handler();
  }

}

static void MX_RTC_Init(void)
{

  /* USER CODE BEGIN RTC_Init 0 */
  /* RTC使用32.768kHz低速外部晶振，自动分频为每秒一次计数；日期换算在myrtc.c。 */

  /* USER CODE END RTC_Init 0 */

  /** Initialize RTC Only
  */
  hrtc.Instance = RTC;
  hrtc.Init.AsynchPrediv = RTC_AUTO_1_SECOND;
  hrtc.Init.OutPut = RTC_OUTPUTSOURCE_ALARM;
  if (HAL_RTC_Init(&hrtc) != HAL_OK)
  {
    Error_Handler();
  }

}

static void MX_GPIO_Init(void)
{
  GPIO_InitTypeDef GPIO_InitStruct = {0};
  /* USER CODE BEGIN MX_GPIO_Init_1 */
  /* GPIO=通用输入输出：先使能端口时钟再配置引脚。
   * PB8/PB9和PB10/PB11是开漏软件总线；PB15灯与PA8蜂鸣器低电平有效。
   * PA2/PA3双边沿触发EXTI外部中断；NVIC是管理中断优先级和开关的控制器。 */

  /* USER CODE END MX_GPIO_Init_1 */

  /* GPIO Ports Clock Enable */
  __HAL_RCC_GPIOC_CLK_ENABLE();
  __HAL_RCC_GPIOD_CLK_ENABLE();
  __HAL_RCC_GPIOA_CLK_ENABLE();
  __HAL_RCC_GPIOB_CLK_ENABLE();

  /*Configure GPIO pin Output Level */
  HAL_GPIO_WritePin(GPIOB, GPIO_PIN_10|GPIO_PIN_11|GPIO_PIN_15|GPIO_PIN_8
                          |GPIO_PIN_9, GPIO_PIN_SET);

  /*Configure GPIO pin Output Level */
  HAL_GPIO_WritePin(BUZZER_GPIO_Port, BUZZER_Pin, GPIO_PIN_SET);

  /*Configure GPIO pins : ENC_A_Pin ENC_B_Pin */
  GPIO_InitStruct.Pin = ENC_A_Pin|ENC_B_Pin;
  GPIO_InitStruct.Mode = GPIO_MODE_IT_RISING_FALLING;
  GPIO_InitStruct.Pull = GPIO_PULLUP;
  HAL_GPIO_Init(GPIOA, &GPIO_InitStruct);

  /*Configure GPIO pins : PA4 PA6 */
  GPIO_InitStruct.Pin = GPIO_PIN_4|GPIO_PIN_6;
  GPIO_InitStruct.Mode = GPIO_MODE_INPUT;
  GPIO_InitStruct.Pull = GPIO_PULLUP;
  HAL_GPIO_Init(GPIOA, &GPIO_InitStruct);

  /*Configure GPIO pin : PB1 */
  GPIO_InitStruct.Pin = GPIO_PIN_1;
  GPIO_InitStruct.Mode = GPIO_MODE_INPUT;
  GPIO_InitStruct.Pull = GPIO_PULLUP;
  HAL_GPIO_Init(GPIOB, &GPIO_InitStruct);

  /*Configure GPIO pins : PB10 PB11 PB8 PB9 */
  GPIO_InitStruct.Pin = GPIO_PIN_10|GPIO_PIN_11|GPIO_PIN_8|GPIO_PIN_9;
  GPIO_InitStruct.Mode = GPIO_MODE_OUTPUT_OD;
  GPIO_InitStruct.Pull = GPIO_NOPULL;
  GPIO_InitStruct.Speed = GPIO_SPEED_FREQ_LOW;
  HAL_GPIO_Init(GPIOB, &GPIO_InitStruct);

  /*Configure GPIO pin : PB15 */
  GPIO_InitStruct.Pin = GPIO_PIN_15;
  GPIO_InitStruct.Mode = GPIO_MODE_OUTPUT_PP;
  GPIO_InitStruct.Pull = GPIO_NOPULL;
  GPIO_InitStruct.Speed = GPIO_SPEED_FREQ_LOW;
  HAL_GPIO_Init(GPIOB, &GPIO_InitStruct);

  /*Configure GPIO pin : BUZZER_Pin */
  GPIO_InitStruct.Pin = BUZZER_Pin;
  GPIO_InitStruct.Mode = GPIO_MODE_OUTPUT_PP;
  GPIO_InitStruct.Pull = GPIO_NOPULL;
  GPIO_InitStruct.Speed = GPIO_SPEED_FREQ_LOW;
  HAL_GPIO_Init(BUZZER_GPIO_Port, &GPIO_InitStruct);

  /* EXTI interrupt init*/
  HAL_NVIC_SetPriority(EXTI2_IRQn, 2, 0);
  HAL_NVIC_EnableIRQ(EXTI2_IRQn);

  HAL_NVIC_SetPriority(EXTI3_IRQn, 2, 0);
  HAL_NVIC_EnableIRQ(EXTI3_IRQn);

}

/* USER CODE BEGIN 4 */
/* HAL外部中断回调：引脚边沿由中断入口交给这里，再转给编码器驱动。 */
void HAL_GPIO_EXTI_Callback(uint16_t GPIO_Pin)
{
    Encoder_OnEdge(GPIO_Pin);
}

/* USER CODE END 4 */

void Error_Handler(void)
{
  /* USER CODE BEGIN Error_Handler_Debug */
  /* 初始化失败会到这里关中断并停住；它是故障处理，不是正常退出程序的入口。 */
  /* User can add his own implementation to report the HAL error return state */
  __disable_irq();
  while (1)
  {
  }
  /* USER CODE END Error_Handler_Debug */
}
